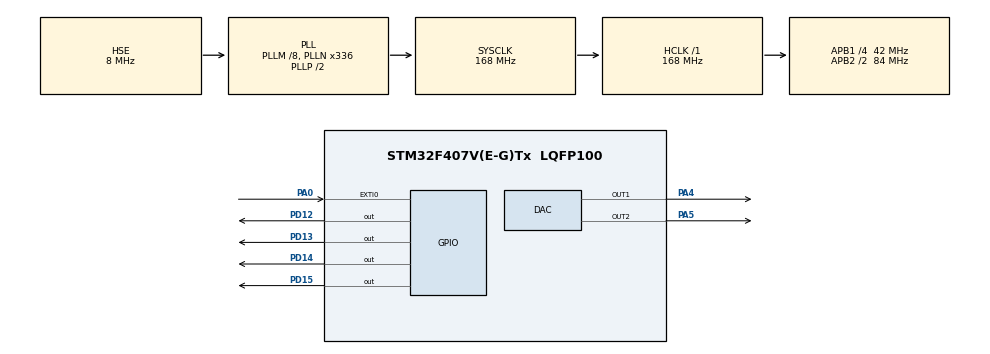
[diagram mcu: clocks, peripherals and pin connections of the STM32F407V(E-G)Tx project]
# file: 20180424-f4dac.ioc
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Mcu.Family=STM32F4
Mcu.Name=STM32F407V(E-G)Tx
Mcu.Package=LQFP100
NVIC.EXTI0_IRQn=true\:0\:0\:false\:false\:true\:true
NVIC.PriorityGroup=NVIC_PRIORITYGROUP_0
NVIC.TIM2_IRQn=true\:0\:0\:false\:false\:true\:true
NVIC.TIM3_IRQn=true\:0\:0\:false\:false\:true\:true
PA0-WKUP.Signal=GPXTI0
PA13.Mode=Serial_Wire
PA13.Signal=SYS_JTMS-SWDIO
PA14.Mode=Serial_Wire
PA14.Signal=SYS_JTCK-SWCLK
PA4.Signal=COMP_DAC1_group
PA5.Signal=COMP_DAC2_group
PD12.Signal=GPIO_Output
PD13.Signal=GPIO_Output
PD14.Signal=GPIO_Output
PD15.Signal=GPIO_Output
PH0-OSC_IN.Mode=HSE-External-Oscillator
PH0-OSC_IN.Signal=RCC_OSC_IN
PH1-OSC_OUT.Mode=HSE-External-Oscillator
PH1-OSC_OUT.Signal=RCC_OSC_OUT
ProjectManager.HeapSize=0x200
ProjectManager.StackSize=0x400
ProjectManager.TargetToolchain=MDK-ARM V5
RCC.48MHZClocksFreq_Value=48000000
RCC.AHBFreq_Value=168000000
RCC.APB1CLKDivider=RCC_HCLK_DIV4
RCC.APB1Freq_Value=42000000
RCC.APB1TimFreq_Value=84000000
RCC.APB2CLKDivider=RCC_HCLK_DIV2
RCC.APB2Freq_Value=84000000
RCC.APB2TimFreq_Value=168000000
RCC.CortexFreq_Value=168000000
RCC.HCLKFreq_Value=168000000
RCC.HSE_VALUE=8000000
RCC.HSI_VALUE=16000000
RCC.PLLM=8
RCC.PLLN=336
RCC.PLLQ=7
RCC.PLLSourceVirtual=RCC_PLLSOURCE_HSE
RCC.SYSCLKFreq_VALUE=168000000
RCC.SYSCLKSource=RCC_SYSCLKSOURCE_PLLCLK
RCC.VCOOutputFreq_Value=336000000
SH.COMP_DAC1_group.0=DAC_OUT1,DAC_OUT1
SH.COMP_DAC2_group.0=DAC_OUT2,DAC_OUT2
TIM2.Period=16800-1
TIM3.Period=16800-1
VP_TIM2_VS_ClockSourceINT.Mode=Internal
VP_TIM3_VS_ClockSourceINT.Mode=Internal
board=STM32F4DISCOVERY

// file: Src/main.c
/**
  ******************************************************************************
  * @file           : main.c
  * @brief          : Main program body
  ******************************************************************************
  ** This notice applies to any and all portions of this file
  * that are not between comment pairs USER CODE BEGIN and
  * USER CODE END. Other portions of this file, whether
  * inserted by the user or by software development tools
  * are owned by their respective copyright owners.
  *
  * COPYRIGHT(c) 2018 STMicroelectronics
  *
  * Redistribution and use in source and binary forms, with or without modification,
  * are permitted provided that the following conditions are met:
  *   1. Redistributions of source code must retain the above copyright notice,
  *      this list of conditions and the following disclaimer.
  *   2. Redistributions in binary form must reproduce the above copyright notice,
  *      this list of conditions and the following disclaimer in the documentation
  *      and/or other materials provided with the distribution.
  *   3. Neither the name of STMicroelectronics nor the names of its contributors
  *      may be used to endorse or promote products derived from this software
  *      without specific prior written permission.
  *
  * THIS SOFTWARE IS PROVIDED BY THE COPYRIGHT HOLDERS AND CONTRIBUTORS "AS IS"
  * AND ANY EXPRESS OR IMPLIED WARRANTIES, INCLUDING, BUT NOT LIMITED TO, THE
  * IMPLIED WARRANTIES OF MERCHANTABILITY AND FITNESS FOR A PARTICULAR PURPOSE ARE
  * DISCLAIMED. IN NO EVENT SHALL THE COPYRIGHT HOLDER OR CONTRIBUTORS BE LIABLE
  * FOR ANY DIRECT, INDIRECT, INCIDENTAL, SPECIAL, EXEMPLARY, OR CONSEQUENTIAL
  * DAMAGES (INCLUDING, BUT NOT LIMITED TO, PROCUREMENT OF SUBSTITUTE GOODS OR
  * SERVICES; LOSS OF USE, DATA, OR PROFITS; OR BUSINESS INTERRUPTION) HOWEVER
  * CAUSED AND ON ANY THEORY OF LIABILITY, WHETHER IN CONTRACT, STRICT LIABILITY,
  * OR TORT (INCLUDING NEGLIGENCE OR OTHERWISE) ARISING IN ANY WAY OUT OF THE USE
  * OF THIS SOFTWARE, EVEN IF ADVISED OF THE POSSIBILITY OF SUCH DAMAGE.
  *
  ******************************************************************************
  */
#include "main.h"
#include "stm32f4xx_hal.h"

/* USER CODE BEGIN Includes */
#include "arm_math.h"
#include <stdio.h>
#define RAD_PER_DEG              0.0174532925
/* USER CODE END Includes */

DAC_HandleTypeDef hdac;

TIM_HandleTypeDef htim2;
TIM_HandleTypeDef htim3;

/* USER CODE BEGIN PV */
/* Private variables ---------------------------------------------------------*/
float A = ((0xFFF)/2), pi = 3.14159265359, f = 50.0, fs = 4960.0, t, omega, vs, vs1, vs2, is, i1, i2;
signed int temp1 = 0;
signed int temp2 = 0;
unsigned int degree = 0;
uint8_t pb = 0;
uint16_t teta = 0;
/* USER CODE END PV */

void SystemClock_Config(void);
static void MX_GPIO_Init(void);
static void MX_DAC_Init(void);
static void MX_TIM2_Init(void);
static void MX_TIM3_Init(void);

/* USER CODE BEGIN PFP */
/* Private function prototypes -----------------------------------------------*/
void HAL_TIM_PeriodElapsedCallback(TIM_HandleTypeDef *htim)
{
	if(htim->Instance==TIM3) //Fungsi Interrupt Timer
		{
			omega = 2.0*pi*f;
			vs=A*arm_sin_f32(omega*t); //ma*A 2047
			vs1=vs+A;
			vs2=A-vs; // 2048

			is=A*arm_sin_f32(omega*t - teta*RAD_PER_DEG);
			i2=A-is;

			t=t+(1/fs);

			if (t>=1/f) //1/f
				t=0;

			HAL_DAC_SetValue(&hdac,DAC_CHANNEL_1,DAC_ALIGN_12B_R,vs2);
			HAL_DAC_SetValue(&hdac,DAC_CHANNEL_2,DAC_ALIGN_12B_R,i2);
		}
}
/* USER CODE END PFP */

int main(void)
{

  /* MCU Configuration----------------------------------------------------------*/

  /* Reset of all peripherals, Initializes the Flash interface and the Systick. */
  HAL_Init();

  /* Configure the system clock */
  SystemClock_Config();

  /* Initialize all configured peripherals */
  MX_GPIO_Init();
  MX_DAC_Init();
  MX_TIM2_Init();
  MX_TIM3_Init();
  /* USER CODE BEGIN 2 */
	HAL_TIM_Base_Start_IT(&htim3);
	HAL_DAC_Start(&hdac, DAC_CHANNEL_1);
	HAL_DAC_Start(&hdac, DAC_CHANNEL_2);

  /* USER CODE END 2 */

  /* Infinite loop */
  while (1)
  {

  /* USER CODE BEGIN 3 */
		if(pb == 0)
		{teta = 0;}
		if(pb == 1)
		{teta = 45;}
		if(pb == 2)
		{teta = 90;}
		if(pb == 3)
		{teta = 135;}
		if(pb == 4)
		{teta = 180;}
		if(pb == 5)
		{teta = 225;}
		if(pb == 6)
		{teta = 270;}
		if(pb == 7)
		{teta = 315;}
		if(pb == 8)
		{pb = 0;}
  }
  /* USER CODE END 3 */

}

void SystemClock_Config(void)
{

  RCC_OscInitTypeDef RCC_OscInitStruct;
  RCC_ClkInitTypeDef RCC_ClkInitStruct;

    /**Configure the main internal regulator output voltage
    */
  __HAL_RCC_PWR_CLK_ENABLE();

  __HAL_PWR_VOLTAGESCALING_CONFIG(PWR_REGULATOR_VOLTAGE_SCALE1);

    /**Initializes the CPU, AHB and APB busses clocks
    */
  RCC_OscInitStruct.OscillatorType = RCC_OSCILLATORTYPE_HSE;
  RCC_OscInitStruct.HSEState = RCC_HSE_ON;
  RCC_OscInitStruct.PLL.PLLState = RCC_PLL_ON;
  RCC_OscInitStruct.PLL.PLLSource = RCC_PLLSOURCE_HSE;
  RCC_OscInitStruct.PLL.PLLM = 8;
  RCC_OscInitStruct.PLL.PLLN = 336;
  RCC_OscInitStruct.PLL.PLLP = RCC_PLLP_DIV2;
  RCC_OscInitStruct.PLL.PLLQ = 7;
  if (HAL_RCC_OscConfig(&RCC_OscInitStruct) != HAL_OK)
  {
    _Error_Handler(__FILE__, __LINE__);
  }

    /**Initializes the CPU, AHB and APB busses clocks
    */
  RCC_ClkInitStruct.ClockType = RCC_CLOCKTYPE_HCLK|RCC_CLOCKTYPE_SYSCLK
                              |RCC_CLOCKTYPE_PCLK1|RCC_CLOCKTYPE_PCLK2;
  RCC_ClkInitStruct.SYSCLKSource = RCC_SYSCLKSOURCE_PLLCLK;
  RCC_ClkInitStruct.AHBCLKDivider = RCC_SYSCLK_DIV1;
  RCC_ClkInitStruct.APB1CLKDivider = RCC_HCLK_DIV4;
  RCC_ClkInitStruct.APB2CLKDivider = RCC_HCLK_DIV2;

  if (HAL_RCC_ClockConfig(&RCC_ClkInitStruct, FLASH_LATENCY_5) != HAL_OK)
  {
    _Error_Handler(__FILE__, __LINE__);
  }

    /**Configure the Systick interrupt time
    */
  HAL_SYSTICK_Config(HAL_RCC_GetHCLKFreq()/1000);

    /**Configure the Systick
    */
  HAL_SYSTICK_CLKSourceConfig(SYSTICK_CLKSOURCE_HCLK);

  /* SysTick_IRQn interrupt configuration */
  HAL_NVIC_SetPriority(SysTick_IRQn, 0, 0);
}

/* DAC init function */
static void MX_DAC_Init(void)
{

  DAC_ChannelConfTypeDef sConfig;

    /**DAC Initialization
    */
  hdac.Instance = DAC;
  if (HAL_DAC_Init(&hdac) != HAL_OK)
  {
    _Error_Handler(__FILE__, __LINE__);
  }

    /**DAC channel OUT1 config
    */
  sConfig.DAC_Trigger = DAC_TRIGGER_NONE;
  sConfig.DAC_OutputBuffer = DAC_OUTPUTBUFFER_ENABLE;
  if (HAL_DAC_ConfigChannel(&hdac, &sConfig, DAC_CHANNEL_1) != HAL_OK)
  {
    _Error_Handler(__FILE__, __LINE__);
  }

    /**DAC channel OUT2 config
    */
  if (HAL_DAC_ConfigChannel(&hdac, &sConfig, DAC_CHANNEL_2) != HAL_OK)
  {
    _Error_Handler(__FILE__, __LINE__);
  }

}

/* TIM2 init function */
static void MX_TIM2_Init(void)
{

  TIM_ClockConfigTypeDef sClockSourceConfig;
  TIM_MasterConfigTypeDef sMasterConfig;

  htim2.Instance = TIM2;
  htim2.Init.Prescaler = 0;
  htim2.Init.CounterMode = TIM_COUNTERMODE_UP;
  htim2.Init.Period = 16800-1;
  htim2.Init.ClockDivision = TIM_CLOCKDIVISION_DIV1;
  if (HAL_TIM_Base_Init(&htim2) != HAL_OK)
  {
    _Error_Handler(__FILE__, __LINE__);
  }

  sClockSourceConfig.ClockSource = TIM_CLOCKSOURCE_INTERNAL;
  if (HAL_TIM_ConfigClockSource(&htim2, &sClockSourceConfig) != HAL_OK)
  {
    _Error_Handler(__FILE__, __LINE__);
  }

  sMasterConfig.MasterOutputTrigger = TIM_TRGO_RESET;
  sMasterConfig.MasterSlaveMode = TIM_MASTERSLAVEMODE_DISABLE;
  if (HAL_TIMEx_MasterConfigSynchronization(&htim2, &sMasterConfig) != HAL_OK)
  {
    _Error_Handler(__FILE__, __LINE__);
  }

}

/* TIM3 init function */
static void MX_TIM3_Init(void)
{

  TIM_ClockConfigTypeDef sClockSourceConfig;
  TIM_MasterConfigTypeDef sMasterConfig;

  htim3.Instance = TIM3;
  htim3.Init.Prescaler = 0;
  htim3.Init.CounterMode = TIM_COUNTERMODE_UP;
  htim3.Init.Period = 16800-1;
  htim3.Init.ClockDivision = TIM_CLOCKDIVISION_DIV1;
  if (HAL_TIM_Base_Init(&htim3) != HAL_OK)
  {
    _Error_Handler(__FILE__, __LINE__);
  }

  sClockSourceConfig.ClockSource = TIM_CLOCKSOURCE_INTERNAL;
  if (HAL_TIM_ConfigClockSource(&htim3, &sClockSourceConfig) != HAL_OK)
  {
    _Error_Handler(__FILE__, __LINE__);
  }

  sMasterConfig.MasterOutputTrigger = TIM_TRGO_RESET;
  sMasterConfig.MasterSlaveMode = TIM_MASTERSLAVEMODE_DISABLE;
  if (HAL_TIMEx_MasterConfigSynchronization(&htim3, &sMasterConfig) != HAL_OK)
  {
    _Error_Handler(__FILE__, __LINE__);
  }

}

/** Configure pins as
        * Analog
        * Input
        * Output
        * EVENT_OUT
        * EXTI
*/
static void MX_GPIO_Init(void)
{

  GPIO_InitTypeDef GPIO_InitStruct;

  /* GPIO Ports Clock Enable */
  __HAL_RCC_GPIOH_CLK_ENABLE();
  __HAL_RCC_GPIOA_CLK_ENABLE();
  __HAL_RCC_GPIOD_CLK_ENABLE();

  /*Configure GPIO pin Output Level */
  HAL_GPIO_WritePin(GPIOD, GPIO_PIN_12|GPIO_PIN_13|GPIO_PIN_14|GPIO_PIN_15, GPIO_PIN_RESET);

  /*Configure GPIO pin : PA0 */
  GPIO_InitStruct.Pin = GPIO_PIN_0;
  GPIO_InitStruct.Mode = GPIO_MODE_IT_RISING;
  GPIO_InitStruct.Pull = GPIO_NOPULL;
  HAL_GPIO_Init(GPIOA, &GPIO_InitStruct);

  /*Configure GPIO pins : PD12 PD13 PD14 PD15 */
  GPIO_InitStruct.Pin = GPIO_PIN_12|GPIO_PIN_13|GPIO_PIN_14|GPIO_PIN_15;
  GPIO_InitStruct.Mode = GPIO_MODE_OUTPUT_PP;
  GPIO_InitStruct.Pull = GPIO_NOPULL;
  GPIO_InitStruct.Speed = GPIO_SPEED_FREQ_LOW;
  HAL_GPIO_Init(GPIOD, &GPIO_InitStruct);

  /* EXTI interrupt init*/
  HAL_NVIC_SetPriority(EXTI0_IRQn, 0, 0);
  HAL_NVIC_EnableIRQ(EXTI0_IRQn);

}

void _Error_Handler(char *file, int line)
{
  while(1)
  {
  }
}

/************************ (C) COPYRIGHT STMicroelectronics *****END OF FILE****/
